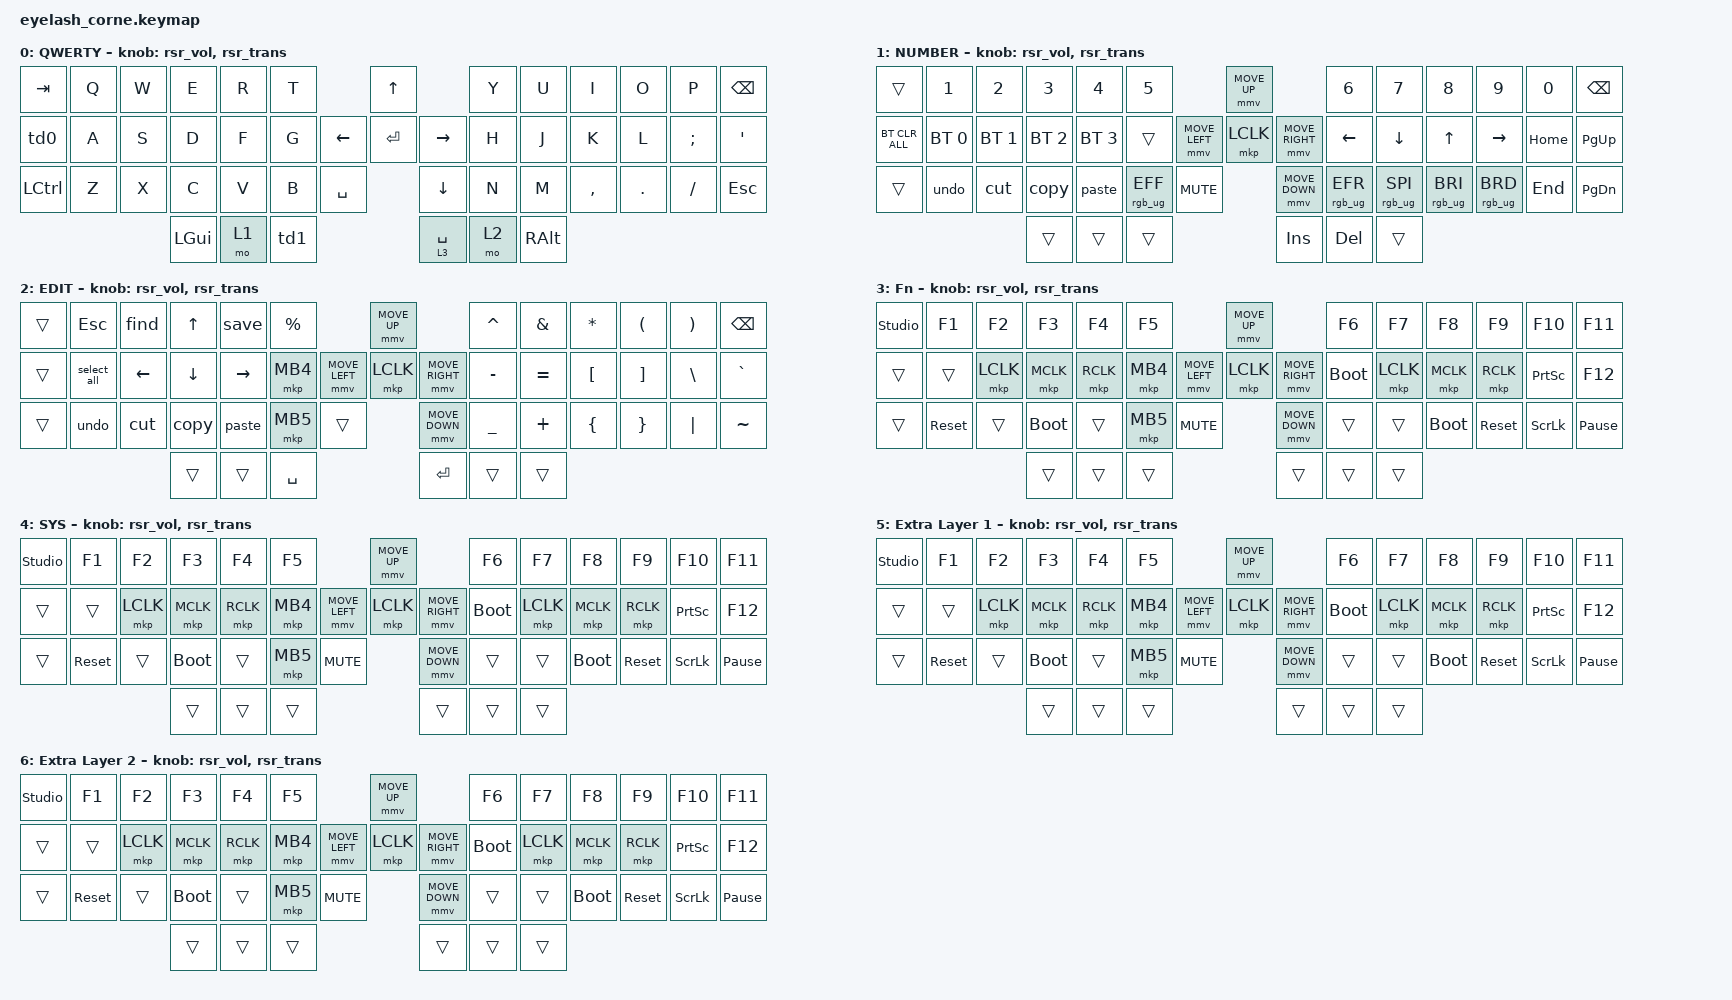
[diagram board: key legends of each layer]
#define ZMK_POINTING_DEFAULT_MOVE_VAL 1200  // 600
#define ZMK_POINTING_DEFAULT_SCRL_VAL 25   // 10

#include <input/processors.dtsi>
#include <zephyr/dt-bindings/input/input-event-codes.h>
#include <behaviors.dtsi>
#include <behaviors/runtime-sensor-rotate.dtsi>
#include <dt-bindings/zmk/bt.h>
#include <dt-bindings/zmk/keys.h>
#include <dt-bindings/zmk/outputs.h>
#include <dt-bindings/zmk/pointing.h>
#include <dt-bindings/zmk/rgb.h>

&mmv_input_listener { input-processors = <&zip_xy_scaler 2 1>; };

&msc_input_listener { input-processors = <&zip_scroll_scaler 2 1>; };

&msc {
    acceleration-exponent = <1>;      // 0
    time-to-max-speed-ms = <100>;       // 300
    delay-ms = <0>;                   // 0
};

&mmv {
    time-to-max-speed-ms = <500>;
    acceleration-exponent = <1>;
    trigger-period-ms = <16>;
};

&soft_off { hold-time-ms = <2000>; };

/ {
    behaviors {
        td0: td0 {
            compatible = "zmk,behavior-tap-dance";
            display-name = "Shift/Caps Lock Tap Dance";
            #binding-cells = <0>;
            bindings = <&kp LEFT_SHIFT>, <&kp CAPS>;
        };

        td1: td1 {
            compatible = "zmk,behavior-tap-dance";
            display-name = "Enter/Shift Tap Dance";
            #binding-cells = <0>;
            bindings = <&kp ENTER>, <&kp LEFT_SHIFT>;
        };

        copy: copy {
            compatible = "zmk,behavior-macro";
            #binding-cells = <0>;

            bindings = <
                &macro_press &kp LCTRL
                &macro_tap   &kp C
                &macro_release &kp LCTRL
            >;
        };

        paste: paste {
            compatible = "zmk,behavior-macro";
            #binding-cells = <0>;

            bindings = <
                &macro_press &kp LCTRL
                &macro_tap   &kp V
                &macro_release &kp LCTRL
            >;
        };

        cut: cut {
            compatible = "zmk,behavior-macro";
            #binding-cells = <0>;

            bindings = <
                &macro_press &kp LCTRL
                &macro_tap   &kp X
                &macro_release &kp LCTRL
            >;
        };

        undo: undo {
            compatible = "zmk,behavior-macro";
            #binding-cells = <0>;

            bindings = <
                &macro_press &kp LCTRL
                &macro_tap   &kp Z
                &macro_release &kp LCTRL
            >;
        };

        redo: redo {
            compatible = "zmk,behavior-macro";
            #binding-cells = <0>;

            bindings = <
                &macro_press &kp LCTRL
                &macro_tap   &kp Y
                &macro_release &kp LCTRL
            >;
        };

        select_all: select_all {
            compatible = "zmk,behavior-macro";
            #binding-cells = <0>;

            bindings = <
                &macro_press &kp LCTRL
                &macro_tap   &kp A
                &macro_release &kp LCTRL
            >;
        };

        save: save {
            compatible = "zmk,behavior-macro";
            #binding-cells = <0>;

            bindings = <
                &macro_press &kp LCTRL
                &macro_tap   &kp S
                &macro_release &kp LCTRL
            >;
        };

        find: find {
            compatible = "zmk,behavior-macro";
            #binding-cells = <0>;

            bindings = <
                &macro_press &kp LCTRL
                &macro_tap   &kp F
                &macro_release &kp LCTRL
            >;
        };

        rsr_trans: rsr_trans {
            compatible = "zmk,behavior-runtime-sensor-rotate";
            #sensor-binding-cells = <0>;
            tap-ms = <0>;
        };

        rsr_vol: rsr_vol {
            compatible = "zmk,behavior-runtime-sensor-rotate";
            #sensor-binding-cells = <0>;
            tap-ms = <5>;
            cw-binding = <&kp C_VOL_UP>;
            ccw-binding = <&kp C_VOL_DN>;
        };
    };

    rgb_encoder: rgb_encoder {
        compatible = "zmk,behavior-sensor-rotate";
        #sensor-binding-cells = <0>;
        bindings = <&rgb_ug RGB_BRI>, <&rgb_ug RGB_BRD>;
    };

    scroll_encoder: scroll_encoder {
        compatible = "zmk,behavior-sensor-rotate";
        #sensor-binding-cells = <0>;
        bindings = <&msc SCRL_DOWN>, <&msc SCRL_UP>;

        tap-ms = <100>;
    };

  combos {
        compatible = "zmk,combos";

        softoff {
            bindings = <&soft_off>;
            key-positions = <1 15 29>;
        };

        backspace {
            bindings = <&kp BSPC>;
            key-positions = <25 26>;
        };

    };

    keymap {
        compatible = "zmk,keymap";

        default_layer {
            display-name = "QWERTY";
            bindings = <
&kp TAB    &kp Q  &kp W  &kp E     &kp R  &kp T                               &kp UP                &kp Y        &kp U  &kp I      &kp O    &kp P     &kp BSPC
&td0       &kp A  &kp S  &kp D     &kp F  &kp G                     &kp LEFT  &kp ENTER  &kp RIGHT  &kp H        &kp J  &kp K      &kp L    &kp SEMI  &kp SQT
&kp LCTRL  &kp Z  &kp X  &kp C     &kp V  &kp B        &kp SPACE              &kp DOWN              &kp N        &kp M  &kp COMMA  &kp DOT  &kp FSLH  &kp ESC
                         &kp LGUI  &mo 1  &td1                                               &lt 3 SPACE  &mo 2  &kp RALT
            >;

            sensor-bindings = <&rsr_vol &rsr_trans>;
        };

        layer_1 {
            display-name = "NUMBER";
            bindings = <
&trans  &kp N1           &kp N2          &kp N3        &kp N4        &kp N5                                         &mmv MOVE_UP                     &kp N6           &kp N7           &kp N8           &kp N9           &kp N0    &kp BSPC
&bt BT_CLR_ALL  &bt BT_SEL 0   &bt BT_SEL 1    &bt BT_SEL 2  &bt BT_SEL 3  &trans                   &mmv MOVE_LEFT  &mkp LCLK       &mmv MOVE_RIGHT  &kp LEFT         &kp DOWN         &kp UP           &kp RIGHT        &kp HOME  &kp PG_UP
&trans  &undo  &cut  &copy        &paste        &rgb_ug RGB_EFF  &kp C_MUTE                    &mmv MOVE_DOWN                   &rgb_ug RGB_EFR  &rgb_ug RGB_SPI  &rgb_ug RGB_BRI  &rgb_ug RGB_BRD  &kp END   &kp PG_DN
                                         &trans        &trans        &trans                                                                          &kp INS          &kp DEL          &trans
            >;

            sensor-bindings = <&rsr_vol &rsr_trans>;
        };

        layer_2 {
            display-name = "EDIT";
            bindings = <
&trans  &kp ESC      &find        &kp UP   &save   &kp PRCNT                            &mmv MOVE_UP                     &kp CARET  &kp AMPS   &kp ASTRK  &kp LPAR  &kp RPAR  &kp BSPC
&trans  &select_all    &kp LEFT     &kp DOWN  &kp RIGHT  &mkp MB4             &mmv MOVE_LEFT  &mkp LCLK       &mmv MOVE_RIGHT  &kp MINUS  &kp EQUAL  &kp LBKT   &kp RBKT  &kp BSLH  &kp GRAVE
&trans  &undo  &cut  &copy      &paste      &mkp MB5   &trans                    &mmv MOVE_DOWN                   &kp UNDER  &kp PLUS   &kp LBRC   &kp RBRC  &kp PIPE  &kp TILDE
                                    &trans     &trans     &kp SPACE                                                             &kp RET    &trans     &trans
            >;

            sensor-bindings = <&rsr_vol &rsr_trans>;
        };

        layer_3 {
            display-name = "Fn";
            bindings = <
&studio_unlock  &kp F1      &kp F2     &kp F3       &kp F4     &kp F5                                  &mmv MOVE_UP                     &kp F6       &kp F7     &kp F8       &kp F9      &kp F10          &kp F11
&trans          &trans      &mkp LCLK  &mkp MCLK    &mkp RCLK  &mkp MB4                &mmv MOVE_LEFT  &mkp LCLK       &mmv MOVE_RIGHT  &bootloader  &mkp LCLK  &mkp MCLK    &mkp RCLK   &kp PRINTSCREEN  &kp F12
&trans          &sys_reset  &trans     &bootloader  &trans     &mkp MB5  &kp C_MUTE                    &mmv MOVE_DOWN                   &trans       &trans     &bootloader  &sys_reset  &kp SCROLLLOCK   &kp PAUSE_BREAK
                                       &trans       &trans     &trans                                                                   &trans       &trans     &trans
            >;

            sensor-bindings = <&rsr_vol &rsr_trans>;
        };

        layer_4 {
            display-name = "SYS";
            bindings = <
&studio_unlock  &kp F1      &kp F2     &kp F3       &kp F4     &kp F5                                  &mmv MOVE_UP                     &kp F6       &kp F7     &kp F8       &kp F9      &kp F10          &kp F11
&trans          &trans      &mkp LCLK  &mkp MCLK    &mkp RCLK  &mkp MB4                &mmv MOVE_LEFT  &mkp LCLK       &mmv MOVE_RIGHT  &bootloader  &mkp LCLK  &mkp MCLK    &mkp RCLK   &kp PRINTSCREEN  &kp F12
&trans          &sys_reset  &trans     &bootloader  &trans     &mkp MB5  &kp C_MUTE                    &mmv MOVE_DOWN                   &trans       &trans     &bootloader  &sys_reset  &kp SCROLLLOCK   &kp PAUSE_BREAK
                                       &trans       &trans     &trans                                                                   &trans       &trans     &trans
            >;

            sensor-bindings = <&rsr_vol &rsr_trans>;
        };

        layer_5 {
            display-name = "Extra Layer 1";
            bindings = <
&studio_unlock  &kp F1      &kp F2     &kp F3       &kp F4     &kp F5                                  &mmv MOVE_UP                     &kp F6       &kp F7     &kp F8       &kp F9      &kp F10          &kp F11
&trans          &trans      &mkp LCLK  &mkp MCLK    &mkp RCLK  &mkp MB4                &mmv MOVE_LEFT  &mkp LCLK       &mmv MOVE_RIGHT  &bootloader  &mkp LCLK  &mkp MCLK    &mkp RCLK   &kp PRINTSCREEN  &kp F12
&trans          &sys_reset  &trans     &bootloader  &trans     &mkp MB5  &kp C_MUTE                    &mmv MOVE_DOWN                   &trans       &trans     &bootloader  &sys_reset  &kp SCROLLLOCK   &kp PAUSE_BREAK
                                       &trans       &trans     &trans                                                                   &trans       &trans     &trans
            >;

            sensor-bindings = <&rsr_vol &rsr_trans>;
        };

        layer_6 {
            display-name = "Extra Layer 2";
            bindings = <
&studio_unlock  &kp F1      &kp F2     &kp F3       &kp F4     &kp F5                                  &mmv MOVE_UP                     &kp F6       &kp F7     &kp F8       &kp F9      &kp F10          &kp F11
&trans          &trans      &mkp LCLK  &mkp MCLK    &mkp RCLK  &mkp MB4                &mmv MOVE_LEFT  &mkp LCLK       &mmv MOVE_RIGHT  &bootloader  &mkp LCLK  &mkp MCLK    &mkp RCLK   &kp PRINTSCREEN  &kp F12
&trans          &sys_reset  &trans     &bootloader  &trans     &mkp MB5  &kp C_MUTE                    &mmv MOVE_DOWN                   &trans       &trans     &bootloader  &sys_reset  &kp SCROLLLOCK   &kp PAUSE_BREAK
                                       &trans       &trans     &trans                                                                   &trans       &trans     &trans
            >;

            sensor-bindings = <&rsr_vol &rsr_trans>;
        };

    };
};
